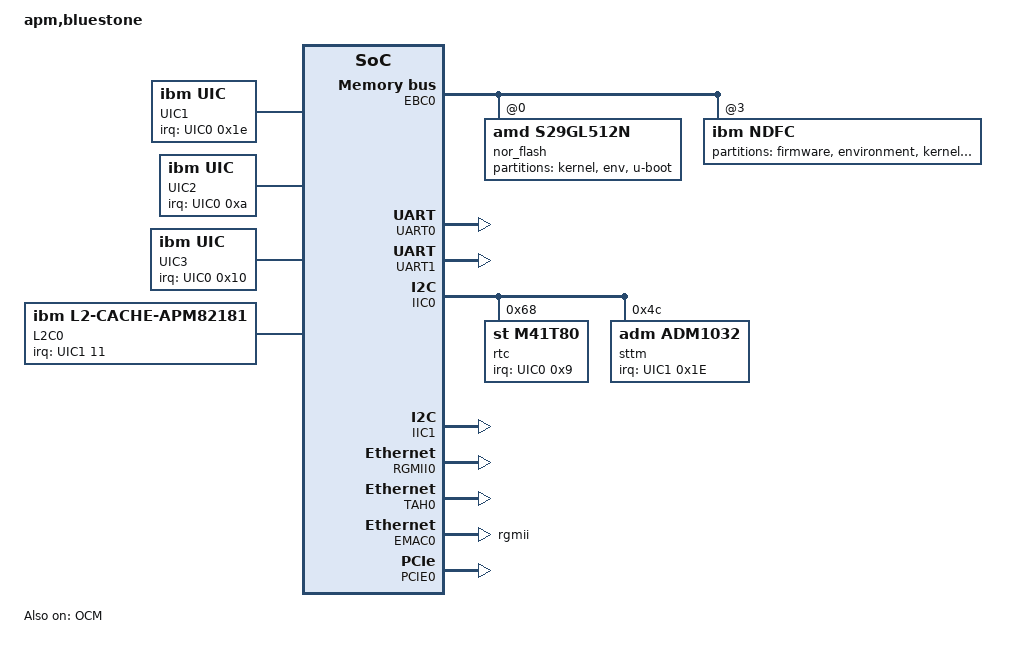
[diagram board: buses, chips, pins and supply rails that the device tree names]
// SPDX-License-Identifier: GPL-2.0-or-later
/*
 * Device Tree for Bluestone (APM821xx) board.
 *
 * Copyright (c) 2010, Applied Micro Circuits Corporation
 * Author: Tirumala R Marri <tmarri@apm.com>
 */

/dts-v1/;

/ {
	#address-cells = <2>;
	#size-cells = <1>;
	model = "apm,bluestone";
	compatible = "apm,bluestone";
	dcr-parent = <&{/cpus/cpu@0}>;

	aliases {
		ethernet0 = &EMAC0;
		serial0 = &UART0;
		serial1 = &UART1;
	};

	cpus {
		#address-cells = <1>;
		#size-cells = <0>;

		cpu@0 {
			device_type = "cpu";
			model = "PowerPC,apm821xx";
			reg = <0x00000000>;
			clock-frequency = <0>; /* Filled in by U-Boot */
			timebase-frequency = <0>; /* Filled in by U-Boot */
			i-cache-line-size = <32>;
			d-cache-line-size = <32>;
			i-cache-size = <32768>;
			d-cache-size = <32768>;
			dcr-controller;
			dcr-access-method = "native";
			next-level-cache = <&L2C0>;
		};
	};

	memory {
		device_type = "memory";
		reg = <0x00000000 0x00000000 0x00000000>; /* Filled in by U-Boot */
	};

	UIC0: interrupt-controller0 {
		compatible = "ibm,uic";
		interrupt-controller;
		cell-index = <0>;
		dcr-reg = <0x0c0 0x009>;
		#address-cells = <0>;
		#size-cells = <0>;
		#interrupt-cells = <2>;
	};

	UIC1: interrupt-controller1 {
		compatible = "ibm,uic";
		interrupt-controller;
		cell-index = <1>;
		dcr-reg = <0x0d0 0x009>;
		#address-cells = <0>;
		#size-cells = <0>;
		#interrupt-cells = <2>;
		interrupts = <0x1e 0x4 0x1f 0x4>; /* cascade */
		interrupt-parent = <&UIC0>;
	};

	UIC2: interrupt-controller2 {
		compatible = "ibm,uic";
		interrupt-controller;
		cell-index = <2>;
		dcr-reg = <0x0e0 0x009>;
		#address-cells = <0>;
		#size-cells = <0>;
		#interrupt-cells = <2>;
		interrupts = <0xa 0x4 0xb 0x4>; /* cascade */
		interrupt-parent = <&UIC0>;
	};

	UIC3: interrupt-controller3 {
		compatible = "ibm,uic";
		interrupt-controller;
		cell-index = <3>;
		dcr-reg = <0x0f0 0x009>;
		#address-cells = <0>;
		#size-cells = <0>;
		#interrupt-cells = <2>;
		interrupts = <0x10 0x4 0x11 0x4>; /* cascade */
		interrupt-parent = <&UIC0>;
	};

	OCM: ocm@400040000 {
		compatible = "ibm,ocm";
		status = "okay";
		cell-index = <1>;
		/* configured in U-Boot */
		reg = <4 0x00040000 0x8000>; /* 32K */
	};

	SDR0: sdr {
		compatible = "ibm,sdr-apm821xx";
		dcr-reg = <0x00e 0x002>;
	};

	CPR0: cpr {
		compatible = "ibm,cpr-apm821xx";
		dcr-reg = <0x00c 0x002>;
	};

	L2C0: l2c {
		compatible = "ibm,l2-cache-apm82181", "ibm,l2-cache";
		dcr-reg = <0x020 0x008
			   0x030 0x008>;
		cache-line-size = <32>;
		cache-size = <262144>;
		interrupt-parent = <&UIC1>;
		interrupts = <11 1>;
	};

	plb {
		compatible = "ibm,plb4";
		#address-cells = <2>;
		#size-cells = <1>;
		ranges;
		clock-frequency = <0>; /* Filled in by U-Boot */

		SDRAM0: sdram {
			compatible = "ibm,sdram-apm821xx";
			dcr-reg = <0x010 0x002>;
		};

		MAL0: mcmal {
			compatible = "ibm,mcmal2";
			descriptor-memory = "ocm";
			dcr-reg = <0x180 0x062>;
			num-tx-chans = <1>;
			num-rx-chans = <1>;
			#address-cells = <0>;
			#size-cells = <0>;
			interrupt-parent = <&UIC2>;
			interrupts = <	/*TXEOB*/ 0x6 0x4
					/*RXEOB*/ 0x7 0x4
					/*SERR*/  0x3 0x4
					/*TXDE*/  0x4 0x4
					/*RXDE*/  0x5 0x4>;
		};

		POB0: opb {
			compatible = "ibm,opb";
			#address-cells = <1>;
			#size-cells = <1>;
			ranges = <0xb0000000 0x00000004 0xb0000000 0x50000000>;
			clock-frequency = <0>; /* Filled in by U-Boot */

			EBC0: ebc {
				compatible = "ibm,ebc";
				dcr-reg = <0x012 0x002>;
				#address-cells = <2>;
				#size-cells = <1>;
				clock-frequency = <0>; /* Filled in by U-Boot */
				/* ranges property is supplied by U-Boot */
				ranges = < 0x00000003 0x00000000 0xe0000000 0x8000000>;
				interrupts = <0x6 0x4>;
				interrupt-parent = <&UIC1>;

				nor_flash@0,0 {
					compatible = "amd,s29gl512n", "cfi-flash";
					bank-width = <2>;
					reg = <0x00000000 0x00000000 0x00400000>;
					#address-cells = <1>;
					#size-cells = <1>;
					partition@0 {
						label = "kernel";
						reg = <0x00000000 0x00180000>;
					};
					partition@180000 {
						label = "env";
						reg = <0x00180000 0x00020000>;
					};
					partition@1a0000 {
						label = "u-boot";
						reg = <0x001a0000 0x00060000>;
					};
				};

				ndfc@1,0 {
					compatible = "ibm,ndfc";
					reg = <0x00000003 0x00000000 0x00002000>;
					ccr = <0x00001000>;
					bank-settings = <0x80002222>;
					#address-cells = <1>;
					#size-cells = <1>;
					/* 2Gb Nand Flash */
					nand {
						#address-cells = <1>;
						#size-cells = <1>;

						partition@0 {
							label = "firmware";
							reg   = <0x00000000 0x00C00000>;
						};
						partition@c00000 {
							label = "environment";
							reg   = <0x00C00000 0x00B00000>;
						};
						partition@1700000 {
							label = "kernel";
							reg   = <0x01700000 0x00E00000>;
						};
						partition@2500000 {
							label = "root";
							reg   = <0x02500000 0x08200000>;
						};
						partition@a700000 {
							label = "device-tree";
							reg   = <0x0A700000 0x00B00000>;
						};
						partition@b200000 {
							label = "config";
							reg   = <0x0B200000 0x00D00000>;
						};
						partition@bf00000 {
							label = "diag";
							reg   = <0x0BF00000 0x00C00000>;
						};
						partition@cb00000 {
							label = "vendor";
							reg   = <0x0CB00000 0x3500000>;
						};
					};
				};
			};

			UART0: serial@ef600300 {
				device_type = "serial";
				compatible = "ns16550";
				reg = <0xef600300 0x00000008>;
				virtual-reg = <0xef600300>;
				clock-frequency = <0>; /* Filled in by U-Boot */
				current-speed = <0>; /* Filled in by U-Boot */
				interrupt-parent = <&UIC1>;
				interrupts = <0x1 0x4>;
			};

			UART1: serial@ef600400 {
				device_type = "serial";
				compatible = "ns16550";
				reg = <0xef600400 0x00000008>;
				virtual-reg = <0xef600400>;
				clock-frequency = <0>; /* Filled in by U-Boot */
				current-speed = <0>; /* Filled in by U-Boot */
				interrupt-parent = <&UIC0>;
				interrupts = <0x1 0x4>;
			};

			IIC0: i2c@ef600700 {
				compatible = "ibm,iic";
				reg = <0xef600700 0x00000014>;
				interrupt-parent = <&UIC0>;
				interrupts = <0x2 0x4>;
				#address-cells = <1>;
				#size-cells = <0>;
				rtc@68 {
					compatible = "st,m41t80";
					reg = <0x68>;
					interrupt-parent = <&UIC0>;
					interrupts = <0x9 0x8>;
				};
				sttm@4C {
					compatible = "adm,adm1032";
					reg = <0x4C>;
					interrupt-parent = <&UIC1>;
					interrupts = <0x1E 0x8>; /* CPU_THERNAL_L */
				};
			};

			IIC1: i2c@ef600800 {
				compatible = "ibm,iic";
				reg = <0xef600800 0x00000014>;
				interrupt-parent = <&UIC0>;
				interrupts = <0x3 0x4>;
			};

			RGMII0: emac-rgmii@ef601500 {
				compatible = "ibm,rgmii";
				reg = <0xef601500 0x00000008>;
				has-mdio;
			};

			TAH0: emac-tah@ef601350 {
				compatible = "ibm,tah";
				reg = <0xef601350 0x00000030>;
			};

			EMAC0: ethernet@ef600c00 {
				device_type = "network";
				compatible = "ibm,emac-apm821xx", "ibm,emac4sync";
				interrupt-parent = <&EMAC0>;
				interrupts = <0x0 0x1>;
				#interrupt-cells = <1>;
				#address-cells = <0>;
				#size-cells = <0>;
				interrupt-map = </*Status*/ 0x0 &UIC2 0x10 0x4
						 /*Wake*/   0x1 &UIC2 0x14 0x4>;
				reg = <0xef600c00 0x000000c4>;
				local-mac-address = [000000000000]; /* Filled in by U-Boot */
				mal-device = <&MAL0>;
				mal-tx-channel = <0>;
				mal-rx-channel = <0>;
				cell-index = <0>;
				max-frame-size = <9000>;
				rx-fifo-size = <16384>;
				tx-fifo-size = <2048>;
				phy-mode = "rgmii";
				phy-map = <0x00000000>;
				rgmii-device = <&RGMII0>;
				rgmii-channel = <0>;
				tah-device = <&TAH0>;
				tah-channel = <0>;
				has-inverted-stacr-oc;
				has-new-stacr-staopc;
			};
		};

		PCIE0: pcie@d00000000 {
			device_type = "pci";
			#interrupt-cells = <1>;
			#size-cells = <2>;
			#address-cells = <3>;
			compatible = "ibm,plb-pciex-apm821xx", "ibm,plb-pciex";
			primary;
			port = <0x0>; /* port number */
			reg = <0x0000000d 0x00000000 0x20000000	/* Config space access */
			       0x0000000c 0x08010000 0x00001000>;	/* Registers */
			dcr-reg = <0x100 0x020>;
			sdr-base = <0x300>;

			/* Outbound ranges, one memory and one IO,
			 * later cannot be changed
			 */
			ranges = <0x02000000 0x00000000 0x80000000 0x0000000e 0x00000000 0x00000000 0x80000000
				  0x02000000 0x00000000 0x00000000 0x0000000f 0x00000000 0x00000000 0x00100000
				  0x01000000 0x00000000 0x00000000 0x0000000f 0x80000000 0x00000000 0x00010000>;

			/* Inbound 2GB range starting at 0 */
			dma-ranges = <0x42000000 0x0 0x0 0x0 0x0 0x0 0x80000000>;

			/* This drives busses 40 to 0x7f */
			bus-range = <0x40 0x7f>;

			/* Legacy interrupts (note the weird polarity, the bridge seems
			 * to invert PCIe legacy interrupts).
			 * We are de-swizzling here because the numbers are actually for
			 * port of the root complex virtual P2P bridge. But I want
			 * to avoid putting a node for it in the tree, so the numbers
			 * below are basically de-swizzled numbers.
			 * The real slot is on idsel 0, so the swizzling is 1:1
			 */
			interrupt-map-mask = <0x0 0x0 0x0 0x7>;
			interrupt-map = <
				0x0 0x0 0x0 0x1 &UIC3 0xc 0x4 /* swizzled int A */
				0x0 0x0 0x0 0x2 &UIC3 0xd 0x4 /* swizzled int B */
				0x0 0x0 0x0 0x3 &UIC3 0xe 0x4 /* swizzled int C */
				0x0 0x0 0x0 0x4 &UIC3 0xf 0x4 /* swizzled int D */>;
		};

		MSI: ppc4xx-msi@C10000000 {
			compatible = "amcc,ppc4xx-msi", "ppc4xx-msi";
			reg = < 0xC 0x10000000 0x100
				0xC 0x10000000 0x100>;
			sdr-base = <0x36C>;
			msi-data = <0x00004440>;
			msi-mask = <0x0000ffe0>;
			interrupts =<0 1 2 3 4 5 6 7>;
			interrupt-parent = <&MSI>;
			#interrupt-cells = <1>;
			#address-cells = <0>;
			#size-cells = <0>;
			msi-available-ranges = <0x0 0x100>;
			interrupt-map = <
				0 &UIC3 0x18 1
				1 &UIC3 0x19 1
				2 &UIC3 0x1A 1
				3 &UIC3 0x1B 1
				4 &UIC3 0x1C 1
				5 &UIC3 0x1D 1
				6 &UIC3 0x1E 1
				7 &UIC3 0x1F 1
			>;
		};
	};
};
